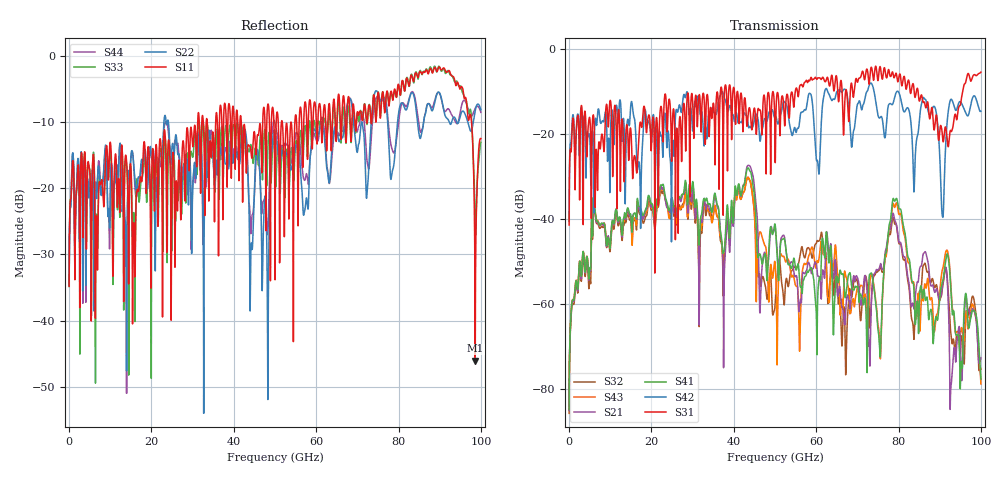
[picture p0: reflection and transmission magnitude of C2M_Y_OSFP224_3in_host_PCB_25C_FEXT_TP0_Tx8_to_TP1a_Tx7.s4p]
# GHz S RI R 45
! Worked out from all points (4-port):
!   4000 points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, 25 MHz to 100 GHz, reference 45 ohm
!   strongest paths, dB at 25 MHz, 25.02 GHz, 50.02 GHz, 75.03 GHz, 100 GHz:
!     S31: -41.4, -21.0, -22.5, -7.4, -5.4
!     S42: -40.4, -26.7, -15.9, -15.6, -14.6
!     S41: -84.9, -35.0, -41.2, -65.9, -77.7
!     S21: -85.1, -35.2, -42.0, -51.9, -72.7
!     S43: -84.8, -36.8, -50.2, -65.0, -78.8
!     S32: -85.8, -36.6, -60.4, -52.3, -75.4
!   lowest |S11| = -46.1 dB at 98.62 GHz (marker M1), VSWR 1.01, Z = 45.4 - j0.0929 ohm
!   |S11| at or under -10 dB: start of sweep to 31.24 GHz; 41.83 GHz to 47.03 GHz (5.201 GHz wide, 11.7 % of centre); 97.73 GHz to end of sweep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
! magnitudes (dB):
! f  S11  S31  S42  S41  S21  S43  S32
! 25 MHz  -34.8  -41.4  -40.4  -84.9  -85.1  -84.8  -85.8
! 6.25 GHz  -22.7  -25.6  -17.7  -37.5  -37.8  -37.5  -38.2
! 43.62 GHz  -13.5  -14.3  -18.5  -28.1  -27.4  -30.3  -30.6
! 49.67 GHz  -9.0  -10.6  -15.4  -42.7  -43.0  -52.1  -62.0
! 90.67 GHz  -1.9  -20.5  -39.4  -54.9  -55.7  -51.9  -56.1
! 98.62 GHz  -46.1  -6.1  -11.2  -62.0  -62.5  -62.5  -60.9
! 100 GHz  -12.4  -5.4  -14.6  -77.7  -72.7  -78.8  -75.4
